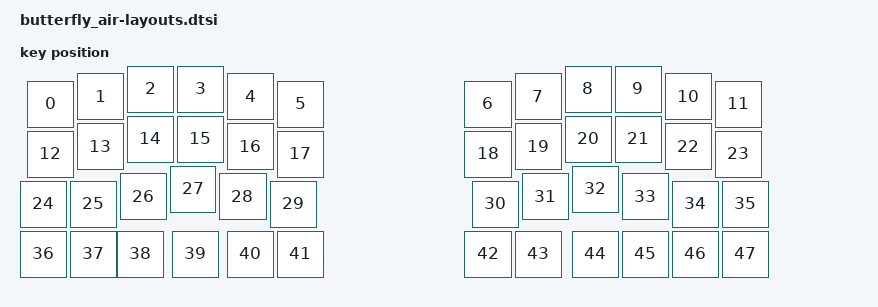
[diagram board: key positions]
#include <physical_layouts.dtsi>

/ {
    physical_layout0: physical_layout_0 {
        compatible = "zmk,physical-layout";
        display-name = "Butterfly Air";

        keys =
            /* Row 0 : Left */
            <&key_physical_attrs 100 100   25 175 0 0 0>,   /* 0,0 ESC */
            <&key_physical_attrs 100 100  125 160 0 0 0>,   /* 0,1 Q */
            <&key_physical_attrs 100 100  225 145 0 0 0>,   /* 0,2 W */
            <&key_physical_attrs 100 100  325 145 0 0 0>,   /* 0,3 E */
            <&key_physical_attrs 100 100  425 160 0 0 0>,   /* 0,4 R */
            <&key_physical_attrs 100 100  525 175 0 0 0>,   /* 0,5 T */

            /* Row 0 : Right */
            <&key_physical_attrs 100 100  900 175 0 0 0>,   /* 0,6 Y */
            <&key_physical_attrs 100 100 1000 160 0 0 0>,   /* 0,7 U */
            <&key_physical_attrs 100 100 1100 145 0 0 0>,   /* 0,8 I */
            <&key_physical_attrs 100 100 1200 145 0 0 0>,   /* 0,9 O */
            <&key_physical_attrs 100 100 1300 160 0 0 0>,   /* 0,10 P */
            <&key_physical_attrs 100 100 1400 175 0 0 0>,   /* 0,11 BSPC */

            /* Row 1 : Left */
            <&key_physical_attrs 100 100   25 275 0 0 0>,   /* 1,0 TAB */
            <&key_physical_attrs 100 100  125 260 0 0 0>,   /* 1,1 A */
            <&key_physical_attrs 100 100  225 245 0 0 0>,   /* 1,2 S */
            <&key_physical_attrs 100 100  325 245 0 0 0>,   /* 1,3 D */
            <&key_physical_attrs 100 100  425 260 0 0 0>,   /* 1,4 F */
            <&key_physical_attrs 100 100  525 275 0 0 0>,   /* 1,5 G */

            /* Row 1 : Right */
            <&key_physical_attrs 100 100  900 275 0 0 0>,   /* 1,6 H */
            <&key_physical_attrs 100 100 1000 260 0 0 0>,   /* 1,7 J */
            <&key_physical_attrs 100 100 1100 245 0 0 0>,   /* 1,8 K */
            <&key_physical_attrs 100 100 1200 245 0 0 0>,   /* 1,9 L */
            <&key_physical_attrs 100 100 1300 260 0 0 0>,   /* 1,10 ; */
            <&key_physical_attrs 100 100 1400 275 0 0 0>,   /* 1,11 ENTER */

            /* Row 2 : Left */
            <&key_physical_attrs 100 100   10 375 0 0 0>,   /* 2,0 SHIFT */
            <&key_physical_attrs 100 100  110 375 0 0 0>,   /* 2,1 Z */
            <&key_physical_attrs 100 100  210 360 0 0 0>,   /* 2,2 X */
            <&key_physical_attrs 100 100  310 345 0 0 0>,   /* 2,3 C */
            <&key_physical_attrs 100 100  410 360 0 0 0>,   /* 2,4 V */
            <&key_physical_attrs 100 100  510 375 0 0 0>,   /* 2,5 B */

            /* Row 2 : Right */
            <&key_physical_attrs 100 100  915 375 0 0 0>,   /* 2,6 N */
            <&key_physical_attrs 100 100 1015 360 0 0 0>,   /* 2,7 M */
            <&key_physical_attrs 100 100 1115 345 0 0 0>,   /* 2,8 , */
            <&key_physical_attrs 100 100 1215 360 0 0 0>,   /* 2,9 . */
            <&key_physical_attrs 100 100 1315 375 0 0 0>,   /* 2,10 UP */
            <&key_physical_attrs 100 100 1415 375 0 0 0>,   /* 2,11 DEL */

            /* Row 3 : Left */
            <&key_physical_attrs 100 100   10 475 0 0 0>,   /* 3,0 CTRL */
            <&key_physical_attrs 100 100  110 475 0 0 0>,   /* 3,1 GUI */
            <&key_physical_attrs 100 100  205 475 0 0 0>,   /* 3,2 ALT */
            <&key_physical_attrs 100 100  315 475 0 0 0>,   /* 3,3 */
            <&key_physical_attrs 100 100  425 475 0 0 0>,   /* 3,4 MO3 */
            <&key_physical_attrs 100 100  525 475 0 0 0>,   /* 3,5 SPACE */

            /* Row 3 : Right */
            <&key_physical_attrs 100 100  900 475 0 0 0>,   /* 3,6 MO1 */
            <&key_physical_attrs 100 100 1000 475 0 0 0>,   /* 3,7 MO2 */
            <&key_physical_attrs 100 100 1115 475 0 0 0>,   /* 3,8 */
            <&key_physical_attrs 100 100 1215 475 0 0 0>,   /* 3,9 LEFT */
            <&key_physical_attrs 100 100 1315 475 0 0 0>,   /* 3,10 DOWN */
            <&key_physical_attrs 100 100 1415 475 0 0 0>;   /* 3,11 RIGHT */
    };
};
